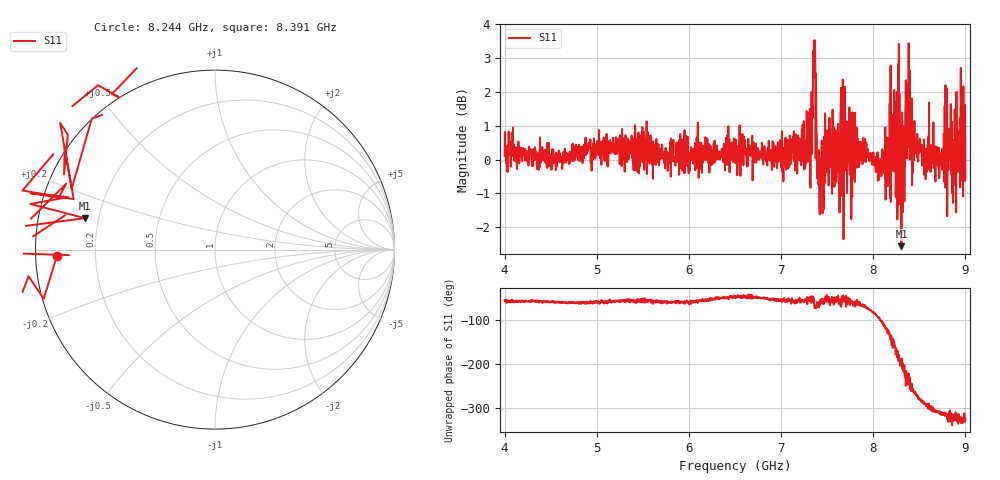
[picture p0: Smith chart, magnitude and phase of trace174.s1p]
! Created with skrf 1.8.0 (http://scikit-rf.org).
# Hz S RI R 50.0
!freq ReS11 ImS11
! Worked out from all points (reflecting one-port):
!   1601 points, 4 GHz to 9 GHz, reference 50 ohm
!   lowest |S11| = -2.6 dB at 8.306 GHz (marker M1), VSWR 6.83, Z = 7.42 + j5.83 ohm
!   phase of S11 starts at -56 deg and turns -268 deg over the sweep
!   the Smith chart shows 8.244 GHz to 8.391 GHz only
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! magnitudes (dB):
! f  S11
! 4 GHz  0.1
! 4.625 GHz  -0.3
! 5.25 GHz  -0.1
! 5.875 GHz  -0.1
! 6.5 GHz  0.5
! 7.125 GHz  0.4
! 7.312 GHz  1.5
! 7.356 GHz  3.5
! 7.372 GHz  2.8
! 7.4 GHz  0.0
! 7.428 GHz  -0.2
! 7.503 GHz  0.1
! 7.616 GHz  0.3
! 7.669 GHz  2.4
! 7.75 GHz  0.7
! 8.159 GHz  0.4
! 8.253 GHz  0.8
! 8.306 GHz  -2.6
! 8.319 GHz  1.0
! 8.334 GHz  0.9
! 8.375 GHz  0.8
! 8.447 GHz  1.1
! 8.556 GHz  -0.5
! 8.731 GHz  0.1
! 8.775 GHz  1.6
! 8.875 GHz  -0.3
! 8.953 GHz  -0.6
! 9 GHz  -0.6
